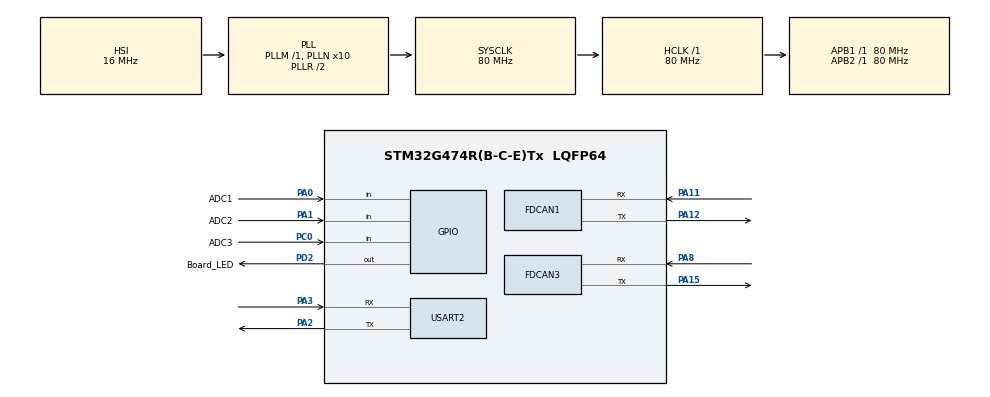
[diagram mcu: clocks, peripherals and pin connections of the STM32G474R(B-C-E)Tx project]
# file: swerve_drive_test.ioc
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FDCAN1.CalculateBaudRateNominal=1000000
FDCAN1.CalculateTimeBitNominal=1000
FDCAN1.CalculateTimeQuantumNominal=50.0
FDCAN1.DataPrescaler=2
FDCAN1.DataTimeSeg1=15
FDCAN1.DataTimeSeg2=4
FDCAN1.FrameFormat=FDCAN_FRAME_FD_BRS
FDCAN1.NominalPrescaler=4
FDCAN1.NominalTimeSeg1=15
FDCAN1.NominalTimeSeg2=4
FDCAN1.StdFiltersNbr=1
FDCAN3.CalculateBaudRateNominal=1000000
FDCAN3.CalculateTimeBitNominal=1000
FDCAN3.CalculateTimeQuantumNominal=50.0
FDCAN3.DataPrescaler=2
FDCAN3.DataTimeSeg1=15
FDCAN3.DataTimeSeg2=4
FDCAN3.FrameFormat=FDCAN_FRAME_FD_BRS
FDCAN3.NominalPrescaler=4
FDCAN3.NominalTimeSeg1=15
FDCAN3.NominalTimeSeg2=4
FDCAN3.StdFiltersNbr=1
Mcu.Family=STM32G4
Mcu.Name=STM32G474R(B-C-E)Tx
Mcu.Package=LQFP64
NVIC.FDCAN1_IT0_IRQn=true\:0\:0\:false\:false\:true\:true\:true\:true
NVIC.FDCAN1_IT1_IRQn=true\:0\:0\:false\:false\:true\:true\:true\:true
NVIC.FDCAN3_IT0_IRQn=true\:0\:0\:false\:false\:true\:true\:true\:true
NVIC.FDCAN3_IT1_IRQn=true\:0\:0\:false\:false\:true\:true\:true\:true
NVIC.PriorityGroup=NVIC_PRIORITYGROUP_4
NVIC.TIM1_UP_TIM16_IRQn=true\:0\:0\:false\:false\:true\:true\:true\:true
NVIC.TIM6_DAC_IRQn=true\:0\:0\:false\:false\:true\:true\:true\:true
NVIC.TIM7_DAC_IRQn=true\:0\:0\:false\:false\:true\:true\:true\:true
NVIC.USART2_IRQn=true\:0\:0\:false\:false\:true\:true\:true\:true
PA0.GPIO_Label=ADC1
PA0.Signal=GPIO_Input
PA1.GPIO_Label=ADC2
PA1.Signal=GPIO_Input
PA11.Mode=FDCAN_Activate
PA11.Signal=FDCAN1_RX
PA12.Mode=FDCAN_Activate
PA12.Signal=FDCAN1_TX
PA15.Mode=FDCAN_Activate
PA15.Signal=FDCAN3_TX
PA2.Mode=Asynchronous
PA2.Signal=USART2_TX
PA3.Mode=Asynchronous
PA3.Signal=USART2_RX
PA8.Mode=FDCAN_Activate
PA8.Signal=FDCAN3_RX
PC0.GPIO_Label=ADC3
PC0.Signal=GPIO_Input
PD2.GPIO_Label=Board_LED
PD2.Signal=GPIO_Output
ProjectManager.HeapSize=0x200
ProjectManager.StackSize=0x400
ProjectManager.TargetToolchain=STM32CubeIDE
RCC.ADC12Freq_Value=80000000
RCC.ADC345Freq_Value=80000000
RCC.AHBFreq_Value=80000000
RCC.APB1Freq_Value=80000000
RCC.APB1TimFreq_Value=80000000
RCC.APB2Freq_Value=80000000
RCC.APB2TimFreq_Value=80000000
RCC.CortexFreq_Value=80000000
RCC.EXTERNAL_CLOCK_VALUE=12288000
RCC.HCLKFreq_Value=80000000
RCC.HSE_VALUE=8000000
RCC.HSI48_VALUE=48000000
RCC.HSI_VALUE=16000000
RCC.LSE_VALUE=32768
RCC.PLLN=10
RCC.SYSCLKFreq_VALUE=80000000
RCC.SYSCLKSource=RCC_SYSCLKSOURCE_PLLCLK
RCC.USBFreq_Value=80000000
RCC.VCOOutputFreq_Value=160000000
TIM16.PeriodNoDither=7999
TIM16.Prescaler=9
TIM6.PeriodNoDither=7999
TIM6.Prescaler=99
TIM7.PeriodNoDither=7999
TIM7.Prescaler=9
USART2.VirtualMode-Asynchronous=VM_ASYNC
VP_SYS_VS_DBSignals.Mode=DisableDeadBatterySignals
VP_TIM16_VS_ClockSourceINT.Mode=Enable_Timer
VP_TIM6_VS_ClockSourceINT.Mode=Enable_Timer
VP_TIM7_VS_ClockSourceINT.Mode=Enable_Timer
board=custom

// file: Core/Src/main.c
/* USER CODE BEGIN Header */
/**
  ******************************************************************************
  * @file           : main.c
  * @brief          : Main program body
  ******************************************************************************
  * @attention
  *
  * Copyright (c) 2024 STMicroelectronics.
  * All rights reserved.
  *
  * This software is licensed under terms that can be found in the LICENSE file
  * in the root directory of this software component.
  * If no LICENSE file comes with this software, it is provided AS-IS.
  *
  ******************************************************************************
  */
/* USER CODE END Header */
#include "main.h"

/* USER CODE BEGIN Includes */
#include <stdio.h>
#include <math.h>
/* USER CODE END Includes */

/* USER CODE BEGIN PTD */
typedef struct{
	volatile uint16_t CANID;
	volatile uint8_t motorID;
	volatile int16_t actVel;
	volatile int16_t p_actVel;
	volatile int16_t actangle;
	volatile int16_t p_actangle;
	volatile int16_t actCurrent;
	volatile int16_t cu;
	volatile float motor_pos_ref;
	volatile float motor_spd;
	volatile float motor_spd_ref;
	volatile float pos_err;
	volatile float last_pos_err;
	volatile float sum_pos_err;
	volatile float sum_err;
	volatile float output_val;
	volatile uint32_t last_update_time;
	volatile float diff_pro;
	volatile float motor_pos;
	volatile int16_t trgVel;
	volatile float hensa;
	volatile float ind;
}motor;
/* USER CODE END PTD */

/* USER CODE BEGIN PD */
//#define R 0.086602540378//m test
#define R 0.317542648//m honban
#define r 66.2//mm

#define true 1
#define false 0
/* USER CODE END PD */

FDCAN_HandleTypeDef hfdcan1;
FDCAN_HandleTypeDef hfdcan3;

TIM_HandleTypeDef htim6;
TIM_HandleTypeDef htim7;
TIM_HandleTypeDef htim16;

UART_HandleTypeDef huart2;

/* USER CODE BEGIN PV */
FDCAN_TxHeaderTypeDef TxHeader;
FDCAN_RxHeaderTypeDef RxHeader;
FDCAN_TxHeaderTypeDef TxHeader_motor;
FDCAN_RxHeaderTypeDef RxHeader_motor;
FDCAN_FilterTypeDef sFilterConfig;

uint8_t TxData[8] = {};
uint8_t RxData[8] = {};
uint8_t TxData_motor[8] = {};
uint8_t RxData_motor[8] = {};

motor robomas[3] = {
		{0x201, 1, 0, 0, 0, 0, 0, 0, 0, 0, 0, 0, 0, 0, 0, 0, 0, 0, 0, 0, 0, 0},
		{0x202, 2, 0, 0, 0, 0, 0, 0, 0, 0, 0, 0, 0, 0, 0, 0, 0, 0, 0, 0, 0, 0},
		{0x203, 3, 0, 0, 0, 0, 0, 0, 0, 0, 0, 0, 0, 0, 0, 0, 0, 0, 0, 0, 0, 0},
};

const float a[3] = {M_PI/6, 5*M_PI/6, 3*M_PI/2};

volatile float vx = 0, vy = 0, omega = 0;

volatile uint8_t is_Right = 0, is_Left = 0, is_Up = 0, is_Down = 0, is_Circle = 0, is_Square = 0, is_Triangle = 0;
volatile uint8_t is_Cross = 0, is_UpRight = 0, is_DownRight = 0, is_UpLeft = 0, is_DownLeft = 0, is_R1 = 0, is_L1 = 0;
volatile uint8_t is_Share = 0, is_Options = 0, is_R3 = 0, is_L3 = 0, is_PsButton = 0, is_Touchpad = 0;

volatile int16_t vel_x = 0, vel_y = 0, omega_c = 0;

volatile float k_p = 7, k_i = 0.5, k_d = 0.01;

float kp = 200, ki = 0, kd = 0;
float max_sum_pos_err = 10000;
float max_output_val = 10000;

float swervedrive_vel[3][2] = {
    {0, 0},
    {0, 0},
    {0, 0}
};
/* USER CODE END PV */

void SystemClock_Config(void);
static void MX_GPIO_Init(void);
static void MX_FDCAN1_Init(void);
static void MX_USART2_UART_Init(void);
static void MX_FDCAN3_Init(void);
static void MX_TIM6_Init(void);
static void MX_TIM7_Init(void);
static void MX_TIM16_Init(void);

/* USER CODE BEGIN 0 */
void HAL_FDCAN_RxFifo0Callback(FDCAN_HandleTypeDef *hfdcan, uint32_t RxFifo0ITs){
	if ((RxFifo0ITs & FDCAN_IT_RX_FIFO0_NEW_MESSAGE) != RESET) {

	        /* Retrieve Rx messages from RX FIFO0 */
		if (HAL_FDCAN_GetRxMessage(&hfdcan3, FDCAN_RX_FIFO0, &RxHeader_motor, RxData_motor) != HAL_OK) {
			printf("fdcan_getrxmessage_motor is error\r\n");
			Error_Handler();
		}
		/*receive robomas's status*/
		for (int i=0; i<=7; i++){
			if (RxHeader_motor.Identifier == (robomas[i].CANID)) {
				robomas[i].actangle = (int16_t)((RxData_motor[0] << 8) | RxData_motor[1]);
				robomas[i].actVel = (int16_t)((RxData_motor[2] << 8) | RxData_motor[3]);
				robomas[i].actCurrent = (int16_t)((RxData_motor[4] << 8) | RxData_motor[5]);
			}
		}
	}
}

void HAL_FDCAN_RxFifo1Callback(FDCAN_HandleTypeDef *hfdcan, uint32_t RxFifo1ITs){
	if (RESET != (RxFifo1ITs & FDCAN_IT_RX_FIFO1_NEW_MESSAGE)) {

	        /* Retrieve Rx messages from RX FIFO0 */

		if (HAL_OK != HAL_FDCAN_GetRxMessage(&hfdcan1, FDCAN_RX_FIFO1, &RxHeader, RxData)) {
			printf("fdcan_getrxmessage is error\r\n");
			Error_Handler();
		}

		if (0x300 == RxHeader.Identifier) {
			vel_x = (int8_t)RxData[0];
			vel_y = (int8_t)RxData[1];
			omega_c = (uint8_t)RxData[5] - (uint8_t)RxData[4];
			if ((RxData[6] & 0x40) == 0x40){
				is_Right = true;
			}
			else {
				is_Right = false;
			}
			if ((RxData[6] & 0x20) == 0x20){
				is_Left = true;
			}
			else {
				is_Left = false;
			}
			if ((RxData[6] & 0x10) == 0x10){
				is_Up = true;
			}
			else {
				is_Up = false;
			}
			if ((RxData[6] & 0x8) == 0x8){
				is_Down = true;
			}
			else {
				is_Down = false;
			}
		}
		if (RxHeader.Identifier == 0x301) {
			if ((int8_t)RxData[1] == 1) {
				vel_x = 0;
				vel_y = 0;
				is_Right = false;
				is_Left = false;
				is_Up = false;
				is_Down = false;
			}
		}
	}
}

void cal_swerve_drive(float Theta, float Vx, float Vy, float Omega, float *V1, float *Theta1, float *V2, float *Theta2, float *V3, float *Theta3) {
    float velocity[3][2] = {};
    for (int i = 0; i < 3; i++){
        velocity[i][0] = Vx - Omega*R*sin(Theta + a[i]);
        velocity[i][1] = Vy + Omega*R*cos(Theta + a[i]);
    }
    /*
    for (int i = 0; i < 3; i++) {
        for (int j = 0; j < 2; j++) {
            if (0 == velocity[i][j]) {
                velocity[i][j] = 0;
                return 1;
            }
        }
    }*/

    *V1 = sqrt(pow(velocity[0][0], 2.0) + pow(velocity[0][1], 2.0));
    *V2 = sqrt(pow(velocity[1][0], 2.0) + pow(velocity[1][1], 2.0));
    *V3 = sqrt(pow(velocity[2][0], 2.0) + pow(velocity[2][1], 2.0));

    *Theta1 = atan2(velocity[0][1], velocity[0][0]);
    *Theta2 = atan2(velocity[1][1], velocity[1][0]);
    *Theta3 = atan2(velocity[2][1], velocity[2][0]);
}

/*Initializing fdcan1*/
void FDCAN_RxTxSettings(void){
	FDCAN_FilterTypeDef FDCAN_Filter_settings;
	FDCAN_Filter_settings.IdType = FDCAN_STANDARD_ID;
	FDCAN_Filter_settings.FilterIndex = 0;
	FDCAN_Filter_settings.FilterType = FDCAN_FILTER_RANGE;
	FDCAN_Filter_settings.FilterConfig = FDCAN_FILTER_TO_RXFIFO1;
	FDCAN_Filter_settings.FilterID1 = 0;
	FDCAN_Filter_settings.FilterID2 = 0x7FF;

	TxHeader.Identifier = 0x000;
	TxHeader.IdType = FDCAN_STANDARD_ID;
	TxHeader.TxFrameType = FDCAN_DATA_FRAME;
	TxHeader.DataLength = FDCAN_DLC_BYTES_8;
	TxHeader.ErrorStateIndicator = FDCAN_ESI_ACTIVE;
	TxHeader.BitRateSwitch = FDCAN_BRS_ON;
	TxHeader.FDFormat = FDCAN_FD_CAN;
	TxHeader.TxEventFifoControl = FDCAN_NO_TX_EVENTS;
	TxHeader.MessageMarker = 0;

	if (HAL_OK != HAL_FDCAN_ConfigFilter(&hfdcan1, &FDCAN_Filter_settings)){
		printf("fdcan_configfilter is error\r\n");
		Error_Handler();
	}

	if (HAL_OK != HAL_FDCAN_ConfigGlobalFilter(&hfdcan1, FDCAN_REJECT, FDCAN_FILTER_REJECT, FDCAN_FILTER_REMOTE, FDCAN_FILTER_REMOTE)){
		printf("fdcan_configglobalfilter is error\r\n");
		Error_Handler();
	}

	if (HAL_OK != HAL_FDCAN_Start(&hfdcan1)) {
		printf("fdcan_start is error\r\n");
		Error_Handler();
	}

	if (HAL_OK != HAL_FDCAN_ActivateNotification(&hfdcan1, FDCAN_IT_RX_FIFO1_NEW_MESSAGE, 0)){
		printf("fdcan_activatenotification is error\r\n");
		Error_Handler();
	}
}

/*Initializing fdcan3*/
void FDCAN_motor_RxTxSettings(void) {
	FDCAN_FilterTypeDef FDCAN_Filter_settings_motor;
	FDCAN_Filter_settings_motor.IdType = FDCAN_STANDARD_ID;
	FDCAN_Filter_settings_motor.FilterIndex = 0;
	FDCAN_Filter_settings_motor.FilterType = FDCAN_FILTER_RANGE;
	FDCAN_Filter_settings_motor.FilterConfig = FDCAN_FILTER_TO_RXFIFO0;
	FDCAN_Filter_settings_motor.FilterID1 = 0x200;
	FDCAN_Filter_settings_motor.FilterID2 = 0x210;

	TxHeader_motor.Identifier = 0x200;
	TxHeader_motor.IdType = FDCAN_STANDARD_ID;
	TxHeader_motor.TxFrameType = FDCAN_DATA_FRAME;
	TxHeader_motor.DataLength = FDCAN_DLC_BYTES_8;
	TxHeader_motor.ErrorStateIndicator = FDCAN_ESI_ACTIVE;
	TxHeader_motor.BitRateSwitch = FDCAN_BRS_OFF;
	TxHeader_motor.FDFormat = FDCAN_CLASSIC_CAN;
	TxHeader_motor.TxEventFifoControl = FDCAN_NO_TX_EVENTS;
	TxHeader_motor.MessageMarker = 0;

	if (HAL_OK != HAL_FDCAN_ConfigFilter(&hfdcan3, &FDCAN_Filter_settings_motor)){
		printf("fdcan_configfilter is error\r\n");
		Error_Handler();
	}

	if (HAL_OK != HAL_FDCAN_ConfigGlobalFilter(&hfdcan3, FDCAN_REJECT, FDCAN_FILTER_REJECT, FDCAN_FILTER_REMOTE, FDCAN_FILTER_REMOTE)){
		printf("fdcan_configglobalfilter is error\r\n");
		Error_Handler();
	}

	if (HAL_OK != HAL_FDCAN_Start(&hfdcan3)) {
		printf("fdcan_start is error\r\n");
		Error_Handler();
	}

	if (HAL_OK != HAL_FDCAN_ActivateNotification(&hfdcan3, FDCAN_IT_RX_FIFO0_NEW_MESSAGE, 0)){
		printf("fdcan_activatenotification is error\r\n");
		Error_Handler();
	}
}

void HAL_TIM_PeriodElapsedCallback(TIM_HandleTypeDef *htim){
	if (&htim6 == htim) {
		for (int i = 0; i < 3; i++){
			robomas[i].hensa = robomas[i].trgVel - robomas[i].actVel;
			if (robomas[i].hensa >= 1000) robomas[i].hensa = 1000;
			else if (robomas[i].hensa <= -1000) robomas[i].hensa = -1000;
			float d = (robomas[i].actVel - robomas[i].p_actVel) / 0.001;
			robomas[i].ind += robomas[i].hensa*0.1;
			if (d >= 30000) d = 30000;
			else if (d <= -30000) d = -30000;
			if (robomas[i].ind >= 10000) robomas[i].ind = 10000;
			else if (robomas[i].ind <= -10000) robomas[i].ind = -10000;

			float t = k_p*robomas[i].hensa;
			if (t>=10000) t = 10000;
			else if (t<=-10000) t = -10000;
			robomas[i].cu = (int16_t)(t+k_i*robomas[i].ind+k_d*d);
			if (robomas[i].cu <= -10000) robomas[i].cu = -10000;
			else if (robomas[i].cu >= 10000) robomas[i].cu = 10000;

			TxData_motor[i*2] = (robomas[i].cu) >> 8;
			TxData_motor[i*2+1] = (uint8_t)((robomas[i].cu) & 0xff);
			robomas[i].p_actVel = robomas[i].actVel;
		}
		if (HAL_FDCAN_AddMessageToTxFifoQ(&hfdcan3, &TxHeader_motor, TxData_motor) != HAL_OK){
			printf("addmassage is error\r\n");
			Error_Handler();
		}
	}

	if (&htim7 == htim) {
		for (int i = 0; i < 3; i++) {
			robomas[i].motor_spd = (float)robomas[i].actVel / 60.0;

			robomas[i].diff_pro=robomas[i].actangle - robomas[i].p_actangle;

			float diff;
			if(robomas[i].actVel >=10000){
				diff = (robomas[i].diff_pro < 0 ? robomas[i].diff_pro + 8192 : robomas[i].diff_pro);
			}else if(robomas[i].actVel <= -10000){
				diff = (robomas[i].diff_pro > 0 ? robomas[i].diff_pro - 8192 : robomas[i].diff_pro);
			}else if( robomas[i].diff_pro < 5000 && robomas[i].diff_pro > -5000){
				diff = robomas[i].diff_pro;
			}else if (robomas[i].diff_pro > 0){
				diff = robomas[i].diff_pro - 8192;
			}else
				diff = robomas[i].diff_pro + 8192;

			robomas[i].p_actangle = robomas[i].actangle;

			float dt = 0.001;
			robomas[i].motor_pos += diff/8192.0;
			robomas[i].motor_spd = diff / 8192.0 / dt;

			robomas[i].motor_pos_ref = -1*swervedrive_vel[i][1]/M_PI/2*117;

			float p_gain = (robomas[i].motor_pos_ref - robomas[i].motor_pos) * kp;
			robomas[i].pos_err = robomas[i].motor_pos_ref - robomas[i].motor_pos;
			if(robomas[i].pos_err>10||robomas[i].pos_err<-10){
				robomas[i].pos_err = 0;
			}
			robomas[i].sum_pos_err += robomas[i].pos_err * dt;
			robomas[i].last_pos_err = robomas[i].pos_err;
			if(robomas[i].sum_pos_err >= max_sum_pos_err){
				robomas[i].sum_pos_err = max_sum_pos_err;
					}
					else if(robomas[i].sum_pos_err <= -max_sum_pos_err){
						robomas[i].sum_pos_err = -max_sum_pos_err;
					}
			float i_gain = robomas[i].sum_pos_err * ki;

			float d_gain = robomas[i].motor_spd * kd;

			robomas[i].trgVel = p_gain + i_gain + d_gain;
/*
			for (int i = 0; i < 3; i++) {
				if (robomas[i].cu > 1000) robomas[i].cu = 1000;
				if (robomas[i].cu < -1000) robomas[i].cu = -1000;
			}*/
		}
	}

	if (&htim16 == htim) {
		if (GPIO_PIN_SET == HAL_GPIO_ReadPin(ADC1_GPIO_Port, ADC1_Pin)){
			robomas[0].motor_pos = 5*M_PI/6/M_PI/2*117*(-1);
		}
		if (GPIO_PIN_SET == HAL_GPIO_ReadPin(ADC2_GPIO_Port, ADC2_Pin)) {
			robomas[1].motor_pos = M_PI/2/M_PI/2*117*(-1);
		}
		if (GPIO_PIN_SET == HAL_GPIO_ReadPin(ADC3_GPIO_Port, ADC3_Pin)) {
			robomas[2].motor_pos = M_PI/6/M_PI/2*117*(-1);
		}
	}
}

int _write(int file, char *ptr, int len)
{
    HAL_UART_Transmit(&huart2,(uint8_t *)ptr,len,10);
    return len;
}
/* USER CODE END 0 */

int main(void)
{

  /* USER CODE BEGIN 1 */
	setbuf(stdout, NULL);
  /* USER CODE END 1 */

  /* MCU Configuration--------------------------------------------------------*/

  /* Reset of all peripherals, Initializes the Flash interface and the Systick. */
  HAL_Init();

  /* Configure the system clock */
  SystemClock_Config();

  /* Initialize all configured peripherals */
  MX_GPIO_Init();
  MX_FDCAN1_Init();
  MX_USART2_UART_Init();
  MX_FDCAN3_Init();
  MX_TIM6_Init();
  MX_TIM7_Init();
  MX_TIM16_Init();
  /* USER CODE BEGIN 2 */
  printf("start\r\n");
  FDCAN_motor_RxTxSettings();//Initialize fdcan3
  printf("can_motor_start\r\n");
  FDCAN_RxTxSettings();//Initialize fdcan1
  printf("can start\r\n");
  HAL_TIM_Base_Start_IT(&htim6);
  HAL_TIM_Base_Start_IT(&htim16);
  /*
  while (GPIO_PIN_RESET == HAL_GPIO_ReadPin(ADC1_GPIO_Port, ADC1_Pin)) {
	  robomas[0].trgVel = 100*36;
  }
  robomas[0].trgVel = 0;
  while (GPIO_PIN_RESET == HAL_GPIO_ReadPin(ADC2_GPIO_Port, ADC2_Pin)) {
	  robomas[1].trgVel = 100*36;
  }
  robomas[1].trgVel = 0;
  while (GPIO_PIN_RESET == HAL_GPIO_ReadPin(ADC3_GPIO_Port, ADC3_Pin)) {
	  robomas[2].trgVel = 100*36;
  }
  robomas[2].trgVel = 0;
  */
  HAL_TIM_Base_Start_IT(&htim7);
  for (int i = 0; i < 3; i++) {
	  swervedrive_vel[i][1] = -M_PI;
	  HAL_Delay(1000);
	  swervedrive_vel[i][1] = M_PI;
	  HAL_Delay(1000);
  }
  /* USER CODE END 2 */

  /* Infinite loop */
  /* USER CODE BEGIN WHILE */
  int8_t state = 1;
  while (1)
  {
	  if (1 == state) {

		  if (vel_x < 10 && vel_x > -10) {
			  vel_x = 0;
		  }
		  if (vel_y < 10 && vel_y > -10) {
			  vel_y = 0;
		  }
		  vx = vel_x*0.01;
		  vy = vel_y*0.01;
		  omega = omega_c/100;

		  if (is_Right){
			  vx += 0.1;
		  }
		  if (is_Left){
			  vx -= 0.1;
		  }
		  if (is_Up){
			  vy += 0.1;
		  }
		  if (is_Down){
			  vy -= 0.1;
		  }

		  float p_swervedrive_vel[3][2] = {};
		  for (int i = 0; i < 3; i++) {
			  for (int j = 0; j < 2; j++) {
				  p_swervedrive_vel[i][j] = swervedrive_vel[i][j];
			  }
		  }

		  cal_swerve_drive(0, vx, vy, omega, &swervedrive_vel[0][0], &swervedrive_vel[0][1], &swervedrive_vel[1][0], &swervedrive_vel[1][1], &swervedrive_vel[2][0], &swervedrive_vel[2][1]);
		  //seigyo hennkan
		  /*tyokuzen_hozon*/
		  for (int i = 0; i < 3; i++) {
			  if (0 == swervedrive_vel[i][0]){
				  swervedrive_vel[i][1] = p_swervedrive_vel[i][1];
			  }
		  }/*tyokuzen_hozon end*/
		  /*gyaku_seigyo*/
		  for (int i = 0; i < 3; i++) {
			  if (swervedrive_vel[i][1] - p_swervedrive_vel[i][1] >= M_PI) {
				  swervedrive_vel[i][0] = -swervedrive_vel[i][0];
				  swervedrive_vel[i][1] = swervedrive_vel[i][1] - M_PI;
			  }
			  if (swervedrive_vel[i][1] - p_swervedrive_vel[i][1] <= -M_PI) {
				  swervedrive_vel[i][0] = -swervedrive_vel[i][0];
				  swervedrive_vel[i][1] = swervedrive_vel[i][1] + M_PI;
			  }
		  }/*gyaku_seigyo_end*/
		  for (int i = 0; i < 3; i++) {
			  if (swervedrive_vel[i][1] < 0) {
				  swervedrive_vel[i][1] += M_PI;
				  swervedrive_vel[i][0] *= -1;
			  }
		  }
	  }

	  printf("%f, %f, %f, ", swervedrive_vel[0][1], swervedrive_vel[1][1], swervedrive_vel[2][1]);
	  printf("%f, %f, %f\r\n", robomas[0].motor_pos*2*M_PI/117*(-1), robomas[1].motor_pos*2*M_PI/117*(-1), robomas[2].motor_pos*2*M_PI/117*(-1));
	  HAL_Delay(10);
    /* USER CODE END WHILE */

  }
}

void SystemClock_Config(void)
{
  RCC_OscInitTypeDef RCC_OscInitStruct = {0};
  RCC_ClkInitTypeDef RCC_ClkInitStruct = {0};

  /** Configure the main internal regulator output voltage
  */
  HAL_PWREx_ControlVoltageScaling(PWR_REGULATOR_VOLTAGE_SCALE1);

  /** Initializes the RCC Oscillators according to the specified parameters
  * in the RCC_OscInitTypeDef structure.
  */
  RCC_OscInitStruct.OscillatorType = RCC_OSCILLATORTYPE_HSI;
  RCC_OscInitStruct.HSIState = RCC_HSI_ON;
  RCC_OscInitStruct.HSICalibrationValue = RCC_HSICALIBRATION_DEFAULT;
  RCC_OscInitStruct.PLL.PLLState = RCC_PLL_ON;
  RCC_OscInitStruct.PLL.PLLSource = RCC_PLLSOURCE_HSI;
  RCC_OscInitStruct.PLL.PLLM = RCC_PLLM_DIV1;
  RCC_OscInitStruct.PLL.PLLN = 10;
  RCC_OscInitStruct.PLL.PLLP = RCC_PLLP_DIV2;
  RCC_OscInitStruct.PLL.PLLQ = RCC_PLLQ_DIV2;
  RCC_OscInitStruct.PLL.PLLR = RCC_PLLR_DIV2;
  if (HAL_RCC_OscConfig(&RCC_OscInitStruct) != HAL_OK)
  {
    Error_Handler();
  }

  /** Initializes the CPU, AHB and APB buses clocks
  */
  RCC_ClkInitStruct.ClockType = RCC_CLOCKTYPE_HCLK|RCC_CLOCKTYPE_SYSCLK
                              |RCC_CLOCKTYPE_PCLK1|RCC_CLOCKTYPE_PCLK2;
  RCC_ClkInitStruct.SYSCLKSource = RCC_SYSCLKSOURCE_PLLCLK;
  RCC_ClkInitStruct.AHBCLKDivider = RCC_SYSCLK_DIV1;
  RCC_ClkInitStruct.APB1CLKDivider = RCC_HCLK_DIV1;
  RCC_ClkInitStruct.APB2CLKDivider = RCC_HCLK_DIV1;

  if (HAL_RCC_ClockConfig(&RCC_ClkInitStruct, FLASH_LATENCY_2) != HAL_OK)
  {
    Error_Handler();
  }
}

static void MX_FDCAN1_Init(void)
{

  hfdcan1.Instance = FDCAN1;
  hfdcan1.Init.ClockDivider = FDCAN_CLOCK_DIV1;
  hfdcan1.Init.FrameFormat = FDCAN_FRAME_FD_BRS;
  hfdcan1.Init.Mode = FDCAN_MODE_NORMAL;
  hfdcan1.Init.AutoRetransmission = DISABLE;
  hfdcan1.Init.TransmitPause = DISABLE;
  hfdcan1.Init.ProtocolException = DISABLE;
  hfdcan1.Init.NominalPrescaler = 4;
  hfdcan1.Init.NominalSyncJumpWidth = 1;
  hfdcan1.Init.NominalTimeSeg1 = 15;
  hfdcan1.Init.NominalTimeSeg2 = 4;
  hfdcan1.Init.DataPrescaler = 2;
  hfdcan1.Init.DataSyncJumpWidth = 1;
  hfdcan1.Init.DataTimeSeg1 = 15;
  hfdcan1.Init.DataTimeSeg2 = 4;
  hfdcan1.Init.StdFiltersNbr = 1;
  hfdcan1.Init.ExtFiltersNbr = 0;
  hfdcan1.Init.TxFifoQueueMode = FDCAN_TX_FIFO_OPERATION;
  if (HAL_FDCAN_Init(&hfdcan1) != HAL_OK)
  {
    Error_Handler();
  }

}

static void MX_FDCAN3_Init(void)
{

  hfdcan3.Instance = FDCAN3;
  hfdcan3.Init.ClockDivider = FDCAN_CLOCK_DIV1;
  hfdcan3.Init.FrameFormat = FDCAN_FRAME_FD_BRS;
  hfdcan3.Init.Mode = FDCAN_MODE_NORMAL;
  hfdcan3.Init.AutoRetransmission = DISABLE;
  hfdcan3.Init.TransmitPause = DISABLE;
  hfdcan3.Init.ProtocolException = DISABLE;
  hfdcan3.Init.NominalPrescaler = 4;
  hfdcan3.Init.NominalSyncJumpWidth = 1;
  hfdcan3.Init.NominalTimeSeg1 = 15;
  hfdcan3.Init.NominalTimeSeg2 = 4;
  hfdcan3.Init.DataPrescaler = 2;
  hfdcan3.Init.DataSyncJumpWidth = 1;
  hfdcan3.Init.DataTimeSeg1 = 15;
  hfdcan3.Init.DataTimeSeg2 = 4;
  hfdcan3.Init.StdFiltersNbr = 1;
  hfdcan3.Init.ExtFiltersNbr = 0;
  hfdcan3.Init.TxFifoQueueMode = FDCAN_TX_FIFO_OPERATION;
  if (HAL_FDCAN_Init(&hfdcan3) != HAL_OK)
  {
    Error_Handler();
  }

}

static void MX_TIM6_Init(void)
{

  TIM_MasterConfigTypeDef sMasterConfig = {0};

  htim6.Instance = TIM6;
  htim6.Init.Prescaler = 99;
  htim6.Init.CounterMode = TIM_COUNTERMODE_UP;
  htim6.Init.Period = 7999;
  htim6.Init.AutoReloadPreload = TIM_AUTORELOAD_PRELOAD_DISABLE;
  if (HAL_TIM_Base_Init(&htim6) != HAL_OK)
  {
    Error_Handler();
  }
  sMasterConfig.MasterOutputTrigger = TIM_TRGO_RESET;
  sMasterConfig.MasterSlaveMode = TIM_MASTERSLAVEMODE_DISABLE;
  if (HAL_TIMEx_MasterConfigSynchronization(&htim6, &sMasterConfig) != HAL_OK)
  {
    Error_Handler();
  }

}

static void MX_TIM7_Init(void)
{

  TIM_MasterConfigTypeDef sMasterConfig = {0};

  htim7.Instance = TIM7;
  htim7.Init.Prescaler = 9;
  htim7.Init.CounterMode = TIM_COUNTERMODE_UP;
  htim7.Init.Period = 7999;
  htim7.Init.AutoReloadPreload = TIM_AUTORELOAD_PRELOAD_DISABLE;
  if (HAL_TIM_Base_Init(&htim7) != HAL_OK)
  {
    Error_Handler();
  }
  sMasterConfig.MasterOutputTrigger = TIM_TRGO_RESET;
  sMasterConfig.MasterSlaveMode = TIM_MASTERSLAVEMODE_DISABLE;
  if (HAL_TIMEx_MasterConfigSynchronization(&htim7, &sMasterConfig) != HAL_OK)
  {
    Error_Handler();
  }

}

static void MX_TIM16_Init(void)
{

  htim16.Instance = TIM16;
  htim16.Init.Prescaler = 9;
  htim16.Init.CounterMode = TIM_COUNTERMODE_UP;
  htim16.Init.Period = 7999;
  htim16.Init.ClockDivision = TIM_CLOCKDIVISION_DIV1;
  htim16.Init.RepetitionCounter = 0;
  htim16.Init.AutoReloadPreload = TIM_AUTORELOAD_PRELOAD_DISABLE;
  if (HAL_TIM_Base_Init(&htim16) != HAL_OK)
  {
    Error_Handler();
  }

}

static void MX_USART2_UART_Init(void)
{

  huart2.Instance = USART2;
  huart2.Init.BaudRate = 115200;
  huart2.Init.WordLength = UART_WORDLENGTH_8B;
  huart2.Init.StopBits = UART_STOPBITS_1;
  huart2.Init.Parity = UART_PARITY_NONE;
  huart2.Init.Mode = UART_MODE_TX_RX;
  huart2.Init.HwFlowCtl = UART_HWCONTROL_NONE;
  huart2.Init.OverSampling = UART_OVERSAMPLING_16;
  huart2.Init.OneBitSampling = UART_ONE_BIT_SAMPLE_DISABLE;
  huart2.Init.ClockPrescaler = UART_PRESCALER_DIV1;
  huart2.AdvancedInit.AdvFeatureInit = UART_ADVFEATURE_NO_INIT;
  if (HAL_UART_Init(&huart2) != HAL_OK)
  {
    Error_Handler();
  }
  if (HAL_UARTEx_SetTxFifoThreshold(&huart2, UART_TXFIFO_THRESHOLD_1_8) != HAL_OK)
  {
    Error_Handler();
  }
  if (HAL_UARTEx_SetRxFifoThreshold(&huart2, UART_RXFIFO_THRESHOLD_1_8) != HAL_OK)
  {
    Error_Handler();
  }
  if (HAL_UARTEx_DisableFifoMode(&huart2) != HAL_OK)
  {
    Error_Handler();
  }

}

static void MX_GPIO_Init(void)
{
  GPIO_InitTypeDef GPIO_InitStruct = {0};

  /* GPIO Ports Clock Enable */
  __HAL_RCC_GPIOC_CLK_ENABLE();
  __HAL_RCC_GPIOA_CLK_ENABLE();
  __HAL_RCC_GPIOD_CLK_ENABLE();

  /*Configure GPIO pin Output Level */
  HAL_GPIO_WritePin(Board_LED_GPIO_Port, Board_LED_Pin, GPIO_PIN_RESET);

  /*Configure GPIO pin : ADC3_Pin */
  GPIO_InitStruct.Pin = ADC3_Pin;
  GPIO_InitStruct.Mode = GPIO_MODE_INPUT;
  GPIO_InitStruct.Pull = GPIO_NOPULL;
  HAL_GPIO_Init(ADC3_GPIO_Port, &GPIO_InitStruct);

  /*Configure GPIO pins : ADC1_Pin ADC2_Pin */
  GPIO_InitStruct.Pin = ADC1_Pin|ADC2_Pin;
  GPIO_InitStruct.Mode = GPIO_MODE_INPUT;
  GPIO_InitStruct.Pull = GPIO_NOPULL;
  HAL_GPIO_Init(GPIOA, &GPIO_InitStruct);

  /*Configure GPIO pin : Board_LED_Pin */
  GPIO_InitStruct.Pin = Board_LED_Pin;
  GPIO_InitStruct.Mode = GPIO_MODE_OUTPUT_PP;
  GPIO_InitStruct.Pull = GPIO_NOPULL;
  GPIO_InitStruct.Speed = GPIO_SPEED_FREQ_LOW;
  HAL_GPIO_Init(Board_LED_GPIO_Port, &GPIO_InitStruct);

}

void Error_Handler(void)
{
  __disable_irq();
  while (1)
  {
  }
}
